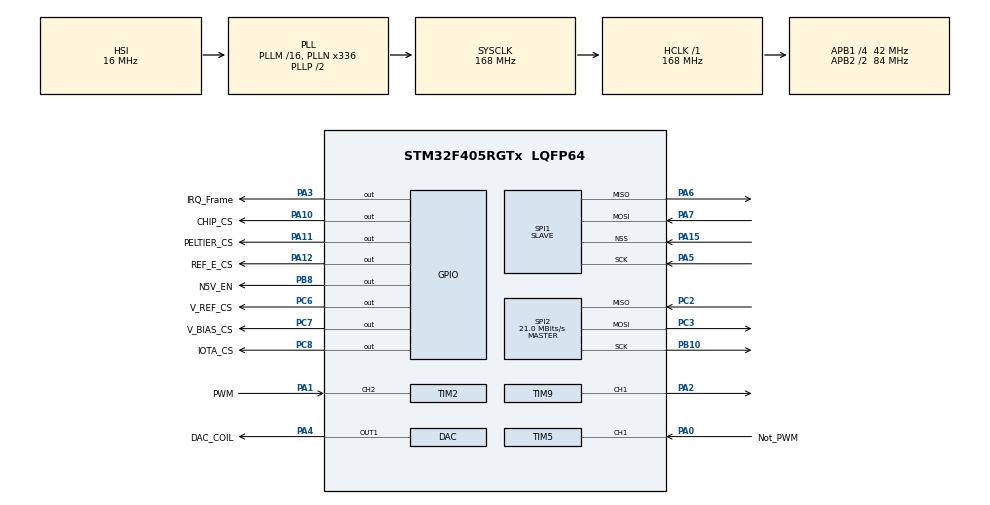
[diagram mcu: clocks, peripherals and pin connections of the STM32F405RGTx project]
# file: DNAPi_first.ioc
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Mcu.Family=STM32F4
Mcu.Name=STM32F405RGTx
Mcu.Package=LQFP64
NVIC.PriorityGroup=NVIC_PRIORITYGROUP_4
NVIC.SPI1_IRQn=true\:0\:0\:false\:false\:true\:true\:true
NVIC.TIM3_IRQn=true\:0\:0\:true\:false\:true\:true\:true
NVIC.TIM5_IRQn=true\:0\:0\:false\:false\:true\:true\:true
PA0-WKUP.GPIO_Label=Not_PWM
PA0-WKUP.Signal=S_TIM5_CH1
PA1.GPIO_Label=PWM
PA1.Signal=S_TIM2_CH2
PA10.GPIO_Label=CHIP_CS
PA10.PinState=GPIO_PIN_SET
PA10.Signal=GPIO_Output
PA11.GPIO_Label=PELTIER_CS
PA11.PinState=GPIO_PIN_SET
PA11.Signal=GPIO_Output
PA12.GPIO_Label=REF_E_CS
PA12.PinState=GPIO_PIN_SET
PA12.Signal=GPIO_Output
PA15.Mode=NSS_Signal_Hard_Input
PA15.Signal=SPI1_NSS
PA2.Signal=S_TIM9_CH1
PA3.GPIO_Label=IRQ_Frame
PA3.Signal=GPIO_Output
PA4.GPIO_Label=DAC_COIL
PA4.Signal=COMP_DAC1_group
PA5.Mode=Full_Duplex_Slave
PA5.Signal=SPI1_SCK
PA6.Mode=Full_Duplex_Slave
PA6.Signal=SPI1_MISO
PA7.Mode=Full_Duplex_Slave
PA7.Signal=SPI1_MOSI
PB10.Mode=Full_Duplex_Master
PB10.Signal=SPI2_SCK
PB8.GPIO_Label=N5V_EN
PB8.Signal=GPIO_Output
PC2.Mode=Full_Duplex_Master
PC2.Signal=SPI2_MISO
PC3.Mode=Full_Duplex_Master
PC3.Signal=SPI2_MOSI
PC6.GPIO_Label=V_REF_CS
PC6.PinState=GPIO_PIN_SET
PC6.Signal=GPIO_Output
PC7.GPIO_Label=V_BIAS_CS
PC7.PinState=GPIO_PIN_SET
PC7.Signal=GPIO_Output
PC8.GPIO_Label=IOTA_CS
PC8.PinState=GPIO_PIN_SET
PC8.Signal=GPIO_Output
ProjectManager.HeapSize=0x200
ProjectManager.StackSize=0x400
ProjectManager.TargetToolchain=MDK-ARM V5
RCC.48MHZClocksFreq_Value=84000000
RCC.AHBFreq_Value=168000000
RCC.APB1CLKDivider=RCC_HCLK_DIV4
RCC.APB1Freq_Value=42000000
RCC.APB1TimFreq_Value=84000000
RCC.APB2CLKDivider=RCC_HCLK_DIV2
RCC.APB2Freq_Value=84000000
RCC.APB2TimFreq_Value=168000000
RCC.CortexFreq_Value=168000000
RCC.HCLKFreq_Value=168000000
RCC.HSE_VALUE=25000000
RCC.HSI_VALUE=16000000
RCC.LSE_VALUE=32768
RCC.PLLN=336
RCC.SYSCLKFreq_VALUE=168000000
RCC.SYSCLKSource=RCC_SYSCLKSOURCE_PLLCLK
RCC.VCOOutputFreq_Value=336000000
SH.COMP_DAC1_group.0=DAC_OUT1,DAC_OUT1
SH.S_TIM2_CH2.0=TIM2_CH2,PWM_Input_2
SH.S_TIM5_CH1.0=TIM5_CH1,PWM_Input_1
SH.S_TIM9_CH1.0=TIM9_CH1,PWM Generation1 CH1
SPI1.Direction=SPI_DIRECTION_2LINES
SPI1.Mode=SPI_MODE_SLAVE
SPI1.VirtualNSS=VM_NSSHARD
SPI1.VirtualType=VM_SLAVE
SPI2.BaudRatePrescaler=SPI_BAUDRATEPRESCALER_2
SPI2.CLKPhase=SPI_PHASE_2EDGE
SPI2.CalculateBaudRate=21.0 MBits/s
SPI2.Direction=SPI_DIRECTION_2LINES
SPI2.Mode=SPI_MODE_MASTER
SPI2.VirtualType=VM_MASTER
TIM2.AutoReloadPreload=TIM_AUTORELOAD_PRELOAD_DISABLE
TIM2.Channel-Input_Capture1_from_TI1=TIM_CHANNEL_1
TIM2.Channel-Input_Capture2_from_TI2=TIM_CHANNEL_2
TIM2.ClockDivision=TIM_CLOCKDIVISION_DIV1
TIM2.ICFilter_1=0
TIM2.ICFilter_2=0
TIM2.ICPolarity_1=TIM_INPUTCHANNELPOLARITY_FALLING
TIM2.Period=0xFFFFFFFF
TIM2.Prescaler=0
TIM2.TIM_MasterOutputTrigger=TIM_TRGO_UPDATE
TIM3.Period=4200
TIM3.Prescaler=1
TIM5.Channel-PWM\ Generation3\ No\ Output=TIM_CHANNEL_3
TIM5.Period=4200
TIM5.Prescaler=1
TIM5.TIM_MasterOutputTrigger=TIM_TRGO_UPDATE
TIM7.Period=65535
TIM7.Prescaler=65535
TIM9.Channel-PWM\ Generation1\ CH1=TIM_CHANNEL_1
TIM9.Period=instantDNA.PWM_Coil_Frequency
TIM9.Prescaler=1
TIM9.Pulse-PWM\ Generation1\ CH1=instantDNA.PWM_Coil_HighTime
VP_TIM2_VS_ClockSourceINT.Mode=Internal
VP_TIM3_VS_ClockSourceINT.Mode=Internal
VP_TIM5_VS_ClockSourceINT.Mode=Internal
VP_TIM5_VS_no_output3.Mode=PWM Generation3 No Output
VP_TIM7_VS_ClockSourceINT.Mode=Enable_Timer
board=custom

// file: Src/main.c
/* USER CODE BEGIN Header */
/**
  ******************************************************************************
  * @file           : main.c
  * @brief          : Main program body
  ******************************************************************************
  * @attention
  *
  * <h2><center>&copy; Copyright (c) 2019 STMicroelectronics.
  * All rights reserved.</center></h2>
  *
  * This software component is licensed by ST under BSD 3-Clause license,
  * the "License"; You may not use this file except in compliance with the
  * License. You may obtain a copy of the License at:
  *                        opensource.org/licenses/BSD-3-Clause
  *
  ******************************************************************************
  */
/* USER CODE END Header */

#include "main.h"

/* USER CODE BEGIN Includes */
#include "instantDNA.h"
#include "DriftAnalysis.h"
#include <math.h>
/* USER CODE END Includes */

DAC_HandleTypeDef hdac;

SPI_HandleTypeDef hspi1;
SPI_HandleTypeDef hspi2;

TIM_HandleTypeDef htim2;
TIM_HandleTypeDef htim3;
TIM_HandleTypeDef htim5;
TIM_HandleTypeDef htim7;
TIM_HandleTypeDef htim9;

void SystemClock_Config(void);
static void MX_GPIO_Init(void);
static void MX_SPI1_Init(void);
static void MX_SPI2_Init(void);
static void MX_TIM2_Init(void);
static void MX_TIM5_Init(void);
static void MX_DAC_Init(void);
static void MX_TIM3_Init(void);
static void MX_TIM9_Init(void);
static void MX_TIM7_Init(void);

int main(void)

{
  /* USER CODE BEGIN 1 */
	int sample;
  /* USER CODE END 1 */

  /* MCU Configuration--------------------------------------------------------*/

  /* Reset of all peripherals, Initializes the Flash interface and the Systick. */
  HAL_Init();

  /* Configure the system clock */
  SystemClock_Config();

  /* USER CODE BEGIN SysInit */
	InitPlatform();
	InitReferenceTemp();
  /* USER CODE END SysInit */

  /* Initialize all configured peripherals */
  MX_GPIO_Init();
  MX_SPI1_Init();
  MX_SPI2_Init();
  MX_TIM2_Init();
  MX_TIM5_Init();
  MX_DAC_Init();
  MX_TIM3_Init();
  MX_TIM9_Init();
  MX_TIM7_Init();
  /* USER CODE BEGIN 2 */
	/* Initialize platform and all DAC to Default values */
	HAL_GPIO_WritePin(N5V_EN_GPIO_Port, N5V_EN_Pin, GPIO_PIN_SET);
	setup_DAC(DAC_VREF);
	setup_DAC(DAC_VBIAS);
	setup_DAC(DAC_IOTA);
	setup_DAC(DAC_REFELEC);
	setup_DAC(DAC_PELTIER);
	setup_DAC(DAC_COIL);

  /* USER CODE END 2 */

  /* Infinite loop */
  /* USER CODE BEGIN WHILE */
  while (1)
  {
		/******WAIT UNTIL NEXT SPI RECEPTION******/
		WaitSPICommand();
		RPi_ActionReq = buf[0];
		RPi_Param[0] = buf[1];
		RPi_Param[1] = buf[2];
		RPi_Param[2] = buf[3];
		RPi_Param[3] = buf[4];

		switch(RPi_ActionReq){
			case HELLOWORLD:
				tx[0] = 0x00;
				tx[1] = 0x11;
				tx[2] = 0x22;
				tx[3] = 0x44;
				tx[4] = 0x88;
				break;

			case SET_DAC_VREF:
				instantDNA.DAC_VRef_Voltage = *(float *)&RPi_Param;
				setup_DAC(DAC_VREF);
				break;

			case SET_DAC_VBIAS:
				instantDNA.DAC_VBias_Voltage = *(float *)&RPi_Param;
				setup_DAC(DAC_VBIAS);
				break;

			case SET_DAC_IOTA:
				instantDNA.DAC_IOTA_Voltage = *(float *)&RPi_Param;
				setup_DAC(DAC_IOTA);
				break;

			case SET_DAC_REFE:
				instantDNA.DAC_RefElect_Voltage = *(float *)&RPi_Param;
				setup_DAC(DAC_REFELEC);
				break;

			case TEST_ONCHIPDAC:
				TestOnChipDAC_Platform();
				tx[0] = 0xBB;
				tx[1] = 0x00;
				tx[2] = 0x00;
				tx[3] = 0x00;
				tx[4] = 0x00;
				break;

			case OBTAIN_FRAME:
				ObtainAndSendFrame_Chem(FrameBuffer);
				Send_EndOfAction_FrameCalib(FrameBuffer);
				tx[0] = 0xAA;
				tx[1] = 0x00;
				tx[2] = 0x00;
				tx[3] = 0x00;
				tx[4] = 0x00;
				break;

			case CHARACTCURVES:
				ObtainCharactCurves(FrameBuffer);
				Send_EndOfAction_FrameCalib(FrameBuffer);
				break;

			case CALIB_ARRAY:
				Calib_Array_Chem_STM(FrameBuffer);
				Send_EndOfAction_FrameCalib(FrameBuffer);
				break;

			// DEMO METHOD!
			case INCREASE_PH:
				instantDNA.DAC_RefElect_Voltage = instantDNA.DAC_RefElect_Voltage + (float)0.01;
				setup_DAC(DAC_REFELEC);
				break;

			case LAMP_CONTROL:
				instantDNA.Platform_Temp = *(float *)&RPi_Param;
				LAMPControl(instantDNA.Platform_Temp, FrameBuffer);
				Send_EndOfAction_FrameCalib(FrameBuffer);
				break;

			case PCR_CONTROL:
				instantDNA.Platform_Temp = *(float *)&RPi_Param;
				PCRControl(FrameBuffer, 1);
				EndReferenceTemp();
				break;

			case TEMP_CONTROL:
				instantDNA.Platform_Temp = *(float *)&RPi_Param;
				TempControl(instantDNA.Platform_Temp, PixelBuffer);
				Send_EndOfAction_Pixel(PixelBuffer);
				break;

			case TEMP_CHARACT:
				TempCharact(FrameBuffer);
				Send_EndOfAction_FrameCalib(FrameBuffer);
				break;

			case TEMP_REFMEAS:
				TempRefSensorCharact();
				EndReferenceTemp();
				break;

			case TEMP_NOISE:
				TempNoise(FrameBuffer);
				Send_EndOfAction_Pixel(FrameBuffer);
				break;

			case TEMP_COILCHARACT:
				TempCoilCharact();
				EndReferenceTemp();
				break;

			case TEMP_COILDYNAMIC:
				TempCoilDynamics();
				EndReferenceTemp();
				break;

/*			case WAVEFORM_GEN:
				WaveGen(FrameBuffer);
				break;*/

			case CHEM_NOISE:
				ChemNoise(FrameBuffer);
				Send_EndOfAction_Pixel(FrameBuffer);
				break;

			case MULTIPLE_FRAMES:
				for(sample = 0; sample < *(float *)&RPi_Param; sample++) ObtainAndSendFrame_Chem(FrameBuffer);
				Send_EndOfAction_FrameCalib(FrameBuffer);
				break;

			case SAMPLE_MINUTES:
				SampleForMinutes(FrameBuffer, *(float *)&RPi_Param);
				Send_EndOfAction_FrameCalib(FrameBuffer);
				break;

			case DAC_SENS:
				DACSensitivityTest(FrameBuffer);
				Send_EndOfAction_FrameCalib(FrameBuffer);
				break;

			default:
				tx[0] = 0x00;
				tx[1] = 0x00;
				tx[2] = 0x00;
				tx[3] = 0x00;
				tx[4] = 0x00;
		}
    /* USER CODE END WHILE */

  }
}

void SystemClock_Config(void)
{
  RCC_OscInitTypeDef RCC_OscInitStruct = {0};
  RCC_ClkInitTypeDef RCC_ClkInitStruct = {0};

  /** Configure the main internal regulator output voltage
  */
  __HAL_RCC_PWR_CLK_ENABLE();
  __HAL_PWR_VOLTAGESCALING_CONFIG(PWR_REGULATOR_VOLTAGE_SCALE1);
  /** Initializes the CPU, AHB and APB busses clocks
  */
  RCC_OscInitStruct.OscillatorType = RCC_OSCILLATORTYPE_HSI;
  RCC_OscInitStruct.HSIState = RCC_HSI_ON;
  RCC_OscInitStruct.HSICalibrationValue = RCC_HSICALIBRATION_DEFAULT;
  RCC_OscInitStruct.PLL.PLLState = RCC_PLL_ON;
  RCC_OscInitStruct.PLL.PLLSource = RCC_PLLSOURCE_HSI;
  RCC_OscInitStruct.PLL.PLLM = 16;
  RCC_OscInitStruct.PLL.PLLN = 336;
  RCC_OscInitStruct.PLL.PLLP = RCC_PLLP_DIV2;
  RCC_OscInitStruct.PLL.PLLQ = 4;
  if (HAL_RCC_OscConfig(&RCC_OscInitStruct) != HAL_OK)
  {
    Error_Handler();
  }
  /** Initializes the CPU, AHB and APB busses clocks
  */
  RCC_ClkInitStruct.ClockType = RCC_CLOCKTYPE_HCLK|RCC_CLOCKTYPE_SYSCLK
                              |RCC_CLOCKTYPE_PCLK1|RCC_CLOCKTYPE_PCLK2;
  RCC_ClkInitStruct.SYSCLKSource = RCC_SYSCLKSOURCE_PLLCLK;
  RCC_ClkInitStruct.AHBCLKDivider = RCC_SYSCLK_DIV1;
  RCC_ClkInitStruct.APB1CLKDivider = RCC_HCLK_DIV4;
  RCC_ClkInitStruct.APB2CLKDivider = RCC_HCLK_DIV2;

  if (HAL_RCC_ClockConfig(&RCC_ClkInitStruct, FLASH_LATENCY_5) != HAL_OK)
  {
    Error_Handler();
  }
}

static void MX_DAC_Init(void)
{

  DAC_ChannelConfTypeDef sConfig = {0};

  /** DAC Initialization
  */
  hdac.Instance = DAC;
  if (HAL_DAC_Init(&hdac) != HAL_OK)
  {
    Error_Handler();
  }
  /** DAC channel OUT1 config
  */
  sConfig.DAC_Trigger = DAC_TRIGGER_NONE;
  sConfig.DAC_OutputBuffer = DAC_OUTPUTBUFFER_ENABLE;
  if (HAL_DAC_ConfigChannel(&hdac, &sConfig, DAC_CHANNEL_1) != HAL_OK)
  {
    Error_Handler();
  }
  /* USER CODE BEGIN DAC_Init 2 */
	HAL_DAC_SetValue(&hdac, DAC_CHANNEL_1, DAC_ALIGN_12B_R, voltage_to_dac(0.0,3.3,0.0));
	if (HAL_DAC_Start(&hdac, DAC_CHANNEL_1) != HAL_OK)
  {
    Error_Handler();
  }
  /* USER CODE END DAC_Init 2 */

}

static void MX_SPI1_Init(void)
{

  /* SPI1 parameter configuration*/
  hspi1.Instance = SPI1;
  hspi1.Init.Mode = SPI_MODE_SLAVE;
  hspi1.Init.Direction = SPI_DIRECTION_2LINES;
  hspi1.Init.DataSize = SPI_DATASIZE_8BIT;
  hspi1.Init.CLKPolarity = SPI_POLARITY_LOW;
  hspi1.Init.CLKPhase = SPI_PHASE_1EDGE;
  hspi1.Init.NSS = SPI_NSS_HARD_INPUT;
  hspi1.Init.FirstBit = SPI_FIRSTBIT_MSB;
  hspi1.Init.TIMode = SPI_TIMODE_DISABLE;
  hspi1.Init.CRCCalculation = SPI_CRCCALCULATION_DISABLE;
  hspi1.Init.CRCPolynomial = 10;
  if (HAL_SPI_Init(&hspi1) != HAL_OK)
  {
    Error_Handler();
  }

}

static void MX_SPI2_Init(void)
{

  /* SPI2 parameter configuration*/
  hspi2.Instance = SPI2;
  hspi2.Init.Mode = SPI_MODE_MASTER;
  hspi2.Init.Direction = SPI_DIRECTION_2LINES;
  hspi2.Init.DataSize = SPI_DATASIZE_8BIT;
  hspi2.Init.CLKPolarity = SPI_POLARITY_LOW;
  hspi2.Init.CLKPhase = SPI_PHASE_2EDGE;
  hspi2.Init.NSS = SPI_NSS_SOFT;
  hspi2.Init.BaudRatePrescaler = SPI_BAUDRATEPRESCALER_2;
  hspi2.Init.FirstBit = SPI_FIRSTBIT_MSB;
  hspi2.Init.TIMode = SPI_TIMODE_DISABLE;
  hspi2.Init.CRCCalculation = SPI_CRCCALCULATION_DISABLE;
  hspi2.Init.CRCPolynomial = 10;
  if (HAL_SPI_Init(&hspi2) != HAL_OK)
  {
    Error_Handler();
  }

}

static void MX_TIM2_Init(void)
{

  TIM_ClockConfigTypeDef sClockSourceConfig = {0};
  TIM_SlaveConfigTypeDef sSlaveConfig = {0};
  TIM_IC_InitTypeDef sConfigIC = {0};
  TIM_MasterConfigTypeDef sMasterConfig = {0};

  htim2.Instance = TIM2;
  htim2.Init.Prescaler = 0;
  htim2.Init.CounterMode = TIM_COUNTERMODE_UP;
  htim2.Init.Period = 0xFFFFFFFF;
  htim2.Init.ClockDivision = TIM_CLOCKDIVISION_DIV1;
  htim2.Init.AutoReloadPreload = TIM_AUTORELOAD_PRELOAD_DISABLE;
  if (HAL_TIM_Base_Init(&htim2) != HAL_OK)
  {
    Error_Handler();
  }
  sClockSourceConfig.ClockSource = TIM_CLOCKSOURCE_INTERNAL;
  if (HAL_TIM_ConfigClockSource(&htim2, &sClockSourceConfig) != HAL_OK)
  {
    Error_Handler();
  }
  if (HAL_TIM_IC_Init(&htim2) != HAL_OK)
  {
    Error_Handler();
  }
  sSlaveConfig.SlaveMode = TIM_SLAVEMODE_RESET;
  sSlaveConfig.InputTrigger = TIM_TS_TI2FP2;
  sSlaveConfig.TriggerPolarity = TIM_INPUTCHANNELPOLARITY_RISING;
  sSlaveConfig.TriggerPrescaler = TIM_ICPSC_DIV1;
  sSlaveConfig.TriggerFilter = 0;
  if (HAL_TIM_SlaveConfigSynchro(&htim2, &sSlaveConfig) != HAL_OK)
  {
    Error_Handler();
  }
  sConfigIC.ICPolarity = TIM_INPUTCHANNELPOLARITY_FALLING;
  sConfigIC.ICSelection = TIM_ICSELECTION_INDIRECTTI;
  sConfigIC.ICPrescaler = TIM_ICPSC_DIV1;
  sConfigIC.ICFilter = 0;
  if (HAL_TIM_IC_ConfigChannel(&htim2, &sConfigIC, TIM_CHANNEL_1) != HAL_OK)
  {
    Error_Handler();
  }
  sConfigIC.ICPolarity = TIM_INPUTCHANNELPOLARITY_RISING;
  sConfigIC.ICSelection = TIM_ICSELECTION_DIRECTTI;
  if (HAL_TIM_IC_ConfigChannel(&htim2, &sConfigIC, TIM_CHANNEL_2) != HAL_OK)
  {
    Error_Handler();
  }
  sMasterConfig.MasterOutputTrigger = TIM_TRGO_UPDATE;
  sMasterConfig.MasterSlaveMode = TIM_MASTERSLAVEMODE_DISABLE;
  if (HAL_TIMEx_MasterConfigSynchronization(&htim2, &sMasterConfig) != HAL_OK)
  {
    Error_Handler();
  }

}

static void MX_TIM3_Init(void)
{

  TIM_ClockConfigTypeDef sClockSourceConfig = {0};
  TIM_MasterConfigTypeDef sMasterConfig = {0};

  htim3.Instance = TIM3;
  htim3.Init.Prescaler = 1;
  htim3.Init.CounterMode = TIM_COUNTERMODE_UP;
  htim3.Init.Period = 4200;
  htim3.Init.ClockDivision = TIM_CLOCKDIVISION_DIV1;
  htim3.Init.AutoReloadPreload = TIM_AUTORELOAD_PRELOAD_DISABLE;
  if (HAL_TIM_Base_Init(&htim3) != HAL_OK)
  {
    Error_Handler();
  }
  sClockSourceConfig.ClockSource = TIM_CLOCKSOURCE_INTERNAL;
  if (HAL_TIM_ConfigClockSource(&htim3, &sClockSourceConfig) != HAL_OK)
  {
    Error_Handler();
  }
  sMasterConfig.MasterOutputTrigger = TIM_TRGO_RESET;
  sMasterConfig.MasterSlaveMode = TIM_MASTERSLAVEMODE_DISABLE;
  if (HAL_TIMEx_MasterConfigSynchronization(&htim3, &sMasterConfig) != HAL_OK)
  {
    Error_Handler();
  }

}

static void MX_TIM5_Init(void)
{

  TIM_ClockConfigTypeDef sClockSourceConfig = {0};
  TIM_SlaveConfigTypeDef sSlaveConfig = {0};
  TIM_IC_InitTypeDef sConfigIC = {0};
  TIM_MasterConfigTypeDef sMasterConfig = {0};
  TIM_OC_InitTypeDef sConfigOC = {0};

  htim5.Instance = TIM5;
  htim5.Init.Prescaler = 1;
  htim5.Init.CounterMode = TIM_COUNTERMODE_UP;
  htim5.Init.Period = 4200;
  htim5.Init.ClockDivision = TIM_CLOCKDIVISION_DIV1;
  htim5.Init.AutoReloadPreload = TIM_AUTORELOAD_PRELOAD_DISABLE;
  if (HAL_TIM_Base_Init(&htim5) != HAL_OK)
  {
    Error_Handler();
  }
  sClockSourceConfig.ClockSource = TIM_CLOCKSOURCE_INTERNAL;
  if (HAL_TIM_ConfigClockSource(&htim5, &sClockSourceConfig) != HAL_OK)
  {
    Error_Handler();
  }
  if (HAL_TIM_PWM_Init(&htim5) != HAL_OK)
  {
    Error_Handler();
  }
  if (HAL_TIM_IC_Init(&htim5) != HAL_OK)
  {
    Error_Handler();
  }
  sSlaveConfig.SlaveMode = TIM_SLAVEMODE_RESET;
  sSlaveConfig.InputTrigger = TIM_TS_TI1FP1;
  sSlaveConfig.TriggerPolarity = TIM_INPUTCHANNELPOLARITY_RISING;
  sSlaveConfig.TriggerPrescaler = TIM_ICPSC_DIV1;
  sSlaveConfig.TriggerFilter = 0;
  if (HAL_TIM_SlaveConfigSynchro(&htim5, &sSlaveConfig) != HAL_OK)
  {
    Error_Handler();
  }
  sConfigIC.ICPolarity = TIM_INPUTCHANNELPOLARITY_RISING;
  sConfigIC.ICSelection = TIM_ICSELECTION_DIRECTTI;
  sConfigIC.ICPrescaler = TIM_ICPSC_DIV1;
  sConfigIC.ICFilter = 0;
  if (HAL_TIM_IC_ConfigChannel(&htim5, &sConfigIC, TIM_CHANNEL_1) != HAL_OK)
  {
    Error_Handler();
  }
  sConfigIC.ICPolarity = TIM_INPUTCHANNELPOLARITY_FALLING;
  sConfigIC.ICSelection = TIM_ICSELECTION_INDIRECTTI;
  if (HAL_TIM_IC_ConfigChannel(&htim5, &sConfigIC, TIM_CHANNEL_2) != HAL_OK)
  {
    Error_Handler();
  }
  sMasterConfig.MasterOutputTrigger = TIM_TRGO_UPDATE;
  sMasterConfig.MasterSlaveMode = TIM_MASTERSLAVEMODE_DISABLE;
  if (HAL_TIMEx_MasterConfigSynchronization(&htim5, &sMasterConfig) != HAL_OK)
  {
    Error_Handler();
  }
  sConfigOC.OCMode = TIM_OCMODE_PWM1;
  sConfigOC.Pulse = 0;
  sConfigOC.OCPolarity = TIM_OCPOLARITY_HIGH;
  sConfigOC.OCFastMode = TIM_OCFAST_DISABLE;
  if (HAL_TIM_PWM_ConfigChannel(&htim5, &sConfigOC, TIM_CHANNEL_3) != HAL_OK)
  {
    Error_Handler();
  }

}

static void MX_TIM7_Init(void)
{

  TIM_MasterConfigTypeDef sMasterConfig = {0};

  htim7.Instance = TIM7;
  htim7.Init.Prescaler = 65535;
  htim7.Init.CounterMode = TIM_COUNTERMODE_UP;
  htim7.Init.Period = 65535;
  htim7.Init.AutoReloadPreload = TIM_AUTORELOAD_PRELOAD_DISABLE;
  if (HAL_TIM_Base_Init(&htim7) != HAL_OK)
  {
    Error_Handler();
  }
  sMasterConfig.MasterOutputTrigger = TIM_TRGO_RESET;
  sMasterConfig.MasterSlaveMode = TIM_MASTERSLAVEMODE_DISABLE;
  if (HAL_TIMEx_MasterConfigSynchronization(&htim7, &sMasterConfig) != HAL_OK)
  {
    Error_Handler();
  }

}

static void MX_TIM9_Init(void)
{

  TIM_OC_InitTypeDef sConfigOC = {0};

  htim9.Instance = TIM9;
  htim9.Init.Prescaler = 1;
  htim9.Init.CounterMode = TIM_COUNTERMODE_UP;
  htim9.Init.Period = instantDNA.PWM_Coil_Frequency;
  htim9.Init.ClockDivision = TIM_CLOCKDIVISION_DIV1;
  htim9.Init.AutoReloadPreload = TIM_AUTORELOAD_PRELOAD_DISABLE;
  if (HAL_TIM_PWM_Init(&htim9) != HAL_OK)
  {
    Error_Handler();
  }
  sConfigOC.OCMode = TIM_OCMODE_PWM1;
  sConfigOC.Pulse = instantDNA.PWM_Coil_HighTime;
  sConfigOC.OCPolarity = TIM_OCPOLARITY_HIGH;
  sConfigOC.OCFastMode = TIM_OCFAST_DISABLE;
  if (HAL_TIM_PWM_ConfigChannel(&htim9, &sConfigOC, TIM_CHANNEL_1) != HAL_OK)
  {
    Error_Handler();
  }
  HAL_TIM_MspPostInit(&htim9);

}

static void MX_GPIO_Init(void)
{
  GPIO_InitTypeDef GPIO_InitStruct = {0};

  /* GPIO Ports Clock Enable */
  __HAL_RCC_GPIOC_CLK_ENABLE();
  __HAL_RCC_GPIOA_CLK_ENABLE();
  __HAL_RCC_GPIOB_CLK_ENABLE();

  /*Configure GPIO pin Output Level */
  HAL_GPIO_WritePin(IRQ_Frame_GPIO_Port, IRQ_Frame_Pin, GPIO_PIN_RESET);

  /*Configure GPIO pin Output Level */
  HAL_GPIO_WritePin(GPIOC, V_REF_CS_Pin|V_BIAS_CS_Pin|IOTA_CS_Pin, GPIO_PIN_SET);

  /*Configure GPIO pin Output Level */
  HAL_GPIO_WritePin(GPIOA, CHIP_CS_Pin|PELTIER_CS_Pin|REF_E_CS_Pin, GPIO_PIN_SET);

  /*Configure GPIO pin Output Level */
  HAL_GPIO_WritePin(N5V_EN_GPIO_Port, N5V_EN_Pin, GPIO_PIN_RESET);

  /*Configure GPIO pins : IRQ_Frame_Pin CHIP_CS_Pin PELTIER_CS_Pin REF_E_CS_Pin */
  GPIO_InitStruct.Pin = IRQ_Frame_Pin|CHIP_CS_Pin|PELTIER_CS_Pin|REF_E_CS_Pin;
  GPIO_InitStruct.Mode = GPIO_MODE_OUTPUT_PP;
  GPIO_InitStruct.Pull = GPIO_NOPULL;
  GPIO_InitStruct.Speed = GPIO_SPEED_FREQ_LOW;
  HAL_GPIO_Init(GPIOA, &GPIO_InitStruct);

  /*Configure GPIO pins : V_REF_CS_Pin V_BIAS_CS_Pin IOTA_CS_Pin */
  GPIO_InitStruct.Pin = V_REF_CS_Pin|V_BIAS_CS_Pin|IOTA_CS_Pin;
  GPIO_InitStruct.Mode = GPIO_MODE_OUTPUT_PP;
  GPIO_InitStruct.Pull = GPIO_NOPULL;
  GPIO_InitStruct.Speed = GPIO_SPEED_FREQ_LOW;
  HAL_GPIO_Init(GPIOC, &GPIO_InitStruct);

  /*Configure GPIO pin : N5V_EN_Pin */
  GPIO_InitStruct.Pin = N5V_EN_Pin;
  GPIO_InitStruct.Mode = GPIO_MODE_OUTPUT_PP;
  GPIO_InitStruct.Pull = GPIO_NOPULL;
  GPIO_InitStruct.Speed = GPIO_SPEED_FREQ_LOW;
  HAL_GPIO_Init(N5V_EN_GPIO_Port, &GPIO_InitStruct);

}

/* USER CODE BEGIN 4 */
/* RPi SPI CallBack */
/* Prepare the message received from the RPi */
void HAL_SPI_TxRxCpltCallback(SPI_HandleTypeDef *hspi)
{

	/* Prepare received variables for further processing */
	SPIMessage_Available = 1;
	spi_int_counter++;

}

void HAL_SPI_TxCpltCallback(SPI_HandleTypeDef *hspi)
{

	/* Prepare received variables for further processing */
	SPIMessage_Available = 1;
	spi_int_counter++;

}

void HAL_TIM_PeriodElapsedCallback(TIM_HandleTypeDef *htim){

	if (htim == &htim3){
		if (!TimerCh2.ActiveMeas) return;

		// Read Registers from all timers
		TimerCh2.TicksHigh_Sample = HAL_TIM_ReadCapturedValue(&htim2, TIM_CHANNEL_1);
		TimerCh2.TicksPeriod_Sample = HAL_TIM_ReadCapturedValue(&htim2, TIM_CHANNEL_2);

		// Compare registers with previous results
		// If Different -> Sample
		if ((TimerCh2.TicksHigh_Sample != TimerCh2.Prev_TicksHigh_Sample) && (TimerCh2.TicksPeriod_Sample != TimerCh2.Prev_TicksPeriod_Sample)) {

			// If sample is first = ignore - potentially corrupted
			if (!TimerCh2.FirstIgnored) {TimerCh2.FirstIgnored = 1; return;}

			// If sample is faulty - discard
			if (TimerCh2.TicksHigh_Sample > TimerCh2.TicksPeriod_Sample) return;
			else TimerCh2.ActiveMeas = 0;
		}

		// If Equal -> Note and wait one more
		else {
			TimerCh2.NumIter++;
			if (TimerCh2.NumIter > 20) {
				TimerCh2.TicksPeriod_Sample = 84000;
				if(HAL_GPIO_ReadPin(PWM_GPIO_Port, PWM_Pin) == 0x01) TimerCh2.TicksHigh_Sample = TimerCh2.TicksPeriod_Sample;
				else TimerCh2.TicksHigh_Sample = 0;
				TimerCh2.ActiveMeas = 0;
			}
		}
	}
/*	else if (htim == &htim4){
		instantDNA.DAC_RefElect_SineWave_Time++;
		instantDNA.DAC_RefElect_SineWave_Radians = (float)instantDNA.DAC_RefElect_SineWave_Time * (2 * 3.1416) / 360.0;
		instantDNA.DAC_RefElect_SineWave = 0.1 * sin(instantDNA.DAC_RefElect_SineWave_Radians);
		instantDNA.DAC_RefElect_Voltage = instantDNA.DAC_RefElect_DC + instantDNA.DAC_RefElect_SineWave;
		setup_DAC(DAC_REFELEC);
	}*/
	/*else if (htim == &htim7){
		instantDNA.Sample_TimeElapsed++;
	}*/

}
/* USER CODE END 4 */

void Error_Handler(void)
{
}

/************************ (C) COPYRIGHT STMicroelectronics *****END OF FILE****/
